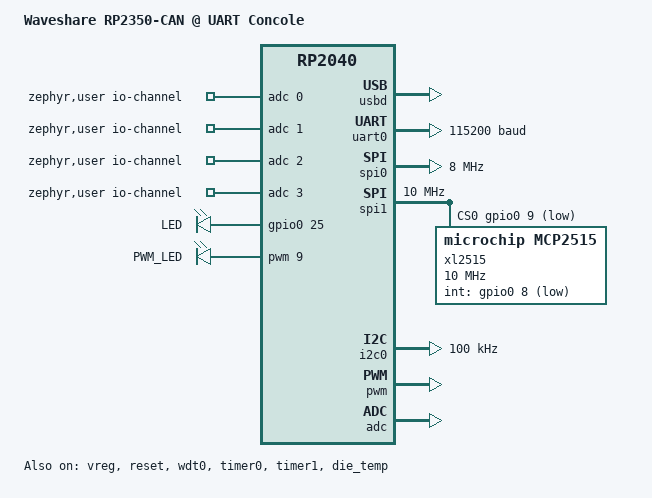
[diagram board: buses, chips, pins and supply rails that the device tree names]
/*
 * SPDX-FileCopyrightText: Copyright (c) 2025-2026 TiaC Systems
 * SPDX-License-Identifier: Apache-2.0
 */

#include <mem.h>
#include <freq.h>

#include <raspberrypi/partitions_0x0_default_4M.dtsi>

#include <zephyr/dt-bindings/clock/rpi_pico_rp2350_clock.h>
#include <zephyr/dt-bindings/regulator/rpi_pico.h>

#include <zephyr/dt-bindings/gpio/gpio.h>
#include <zephyr/dt-bindings/i2c/i2c.h>
#include <zephyr/dt-bindings/pwm/pwm.h>

#include "raspberrypi_pico_connector.dtsi"
#include "raspberrypi_pico_r3_connector.dtsi"
#include "waveshare_rp2350_can-pinctrl.dtsi"

/ {
	model = "Waveshare RP2350-CAN @ UART Concole";
	compatible = "waveshare,rp2350-can",
		     "waveshare,rp2040-can-uartcons";

	chosen {
		zephyr,sram = &sram0;
		zephyr,flash = &flash0;
		zephyr,flash-controller = &qmi;
		zephyr,code-partition = &code_partition;
		zephyr,console = &uart0;
		zephyr,shell-uart = &uart0;
		zephyr,canbus = &can0;
	};

	aliases {
		watchdog0 = &wdt0;
		led0 = &led0;
		pwm-led0 = &pwm_led0;
	};

	zephyr,user {
		io-channels = <&adc 0>, <&adc 1>, <&adc 2>, <&adc 3>;
	};

	gpio_leds: gpio-leds {
		compatible = "gpio-leds";

		led0: led0 {
			gpios = <&gpio0 25 GPIO_ACTIVE_HIGH>;
			label = "LED";
		};
	};

	pwm_leds: pwm-leds {
		compatible = "pwm-leds";

		pwm_led0: pwm_led0 {
			pwms = <&pwm 9 PWM_MSEC(20) PWM_POLARITY_NORMAL>;
			label = "PWM_LED";
		};
	};
};

&flash0 {
	status = "okay";
	reg = <0x10000000 DT_SIZE_M(4)>;
	ranges = <0x0 0x10000000 DT_SIZE_M(4)>;

	partitions {
		storage_partition: partition@100000 {
			compatible = "zephyr,mapped-partition";
			label = "storage";
			reg = <0x100000 DT_SIZE_M(3)>;
		};
	};
};

&code_partition {
	reg = <0x0 DT_SIZE_M(1)>;
};

&clocks {
	status = "okay";
	pinctrl-0 = <&clocks_default>;
	pinctrl-names = "default";
};

&vreg {
	status = "okay";
	regulator-always-on;
	regulator-allowed-modes = <REGULATOR_RPI_PICO_MODE_NORMAL>;
};

&reset {
	status = "okay";
};

&wdt0 {
	status = "okay";
};

&timer0 {
	status = "okay";
};

&timer1 {
	status = "okay";
};

&dma {
	status = "okay";
};

&die_temp {
	status = "okay";
	friendly-name = "RP2350 chip temperature";
};

zephyr_udc0: &usbd {
	status = "okay";
};

&uart0 {
	status = "okay";
	pinctrl-0 = <&uart0_default>;
	pinctrl-names = "default";
	current-speed = <115200>;
};

&spi0 {
	status = "okay";
	pinctrl-0 = <&spi0_pico_default>;
	pinctrl-names = "default";
	clock-frequency = <DT_FREQ_M(8)>;
};

&spi1 {
	status = "okay";
	pinctrl-0 = <&spi1_can>;
	pinctrl-names = "default";

	clock-frequency = <DT_FREQ_M(10)>;
	cs-gpios = <&gpio0 9 GPIO_ACTIVE_LOW>;

	/* Xinluda XL2515QF20 is compatible to MicroChip MCP2515 */
	xl2515: xl2515@0 {
		compatible = "microchip,mcp2515";
		status = "okay";

		reg = <0x0>;
		spi-max-frequency = <DT_FREQ_M(10)>;
		int-gpios = <&gpio0 8 GPIO_ACTIVE_LOW>;
		osc-freq = <DT_FREQ_M(16)>;

		can-transceiver {
			max-bitrate = <DT_FREQ_M(1)>;
		};
	};
};

can0: &xl2515 {};

&i2c0 {
	status = "okay";
	pinctrl-0 = <&i2c0_pico_default>;
	pinctrl-names = "default";
	clock-frequency = <I2C_BITRATE_STANDARD>;
};

&i2c1 {
	status = "disabled";
	pinctrl-0 = <&i2c1_pico_default>;
	pinctrl-names = "default";
	clock-frequency = <I2C_BITRATE_STANDARD>;
};

&pwm {
	status = "okay";
	pinctrl-0 = <&pwm_pico_default>;
	pinctrl-names = "default";
	divider-int-4 = <255>;	/* led: PWM4CHB (9) */
};

&adc {
	status = "okay";
	pinctrl-0 = <&adc_default>;
	pinctrl-names = "default";
};

gpio0_lo: &gpio0 {
	status = "okay";
	/* namespace and positions without wired bits */
	gpio-line-names =
		"TX0",			/* GP0 */
		"RX0",			/* GP1 */
		"GP2_CTS0",		/* GP2 */
		"GP3_RTS0",		/* GP3 */
		"SDA0",			/* GP4 */
		"SCL0",			/* GP5 */
		"GP6",			/* GP6 */
		"GP7",			/* GP7 */
		"CAN_IRQ",		/* GP8 */
		"CAN_CSN1",		/* GP9 */
		"CAN_SCK1",		/* GP10 */
		"CAN_SDO1",		/* GP11 */
		"CAN_SDI1",		/* GP12 */
		"GP13",			/* GP13 */
		"GP14_SDA1",		/* GP14 */
		"GP15_SCL1",		/* GP15 */
		"SDI0",			/* GP16 */
		"CSN0",			/* GP17 */
		"SCK0",			/* GP18 */
		"SDO0",			/* GP19 */
		"GP20_PWM4",		/* GP20 */
		"GP21_PWM5",		/* GP21 */
		"GP22_PWM6",		/* GP22 */
		"PSU_SMPS",		/* GP23 */
		"PSU_VBUS/1.51",	/* GP24 */
		"ULED0_PWM9",		/* GP25 */
		"ADC0",			/* GP26 */
		"ADC1",			/* GP27 */
		"ADC2",			/* GP28 */
		"PSU_ADC3_VSYS/2";	/* GP29 */
};
